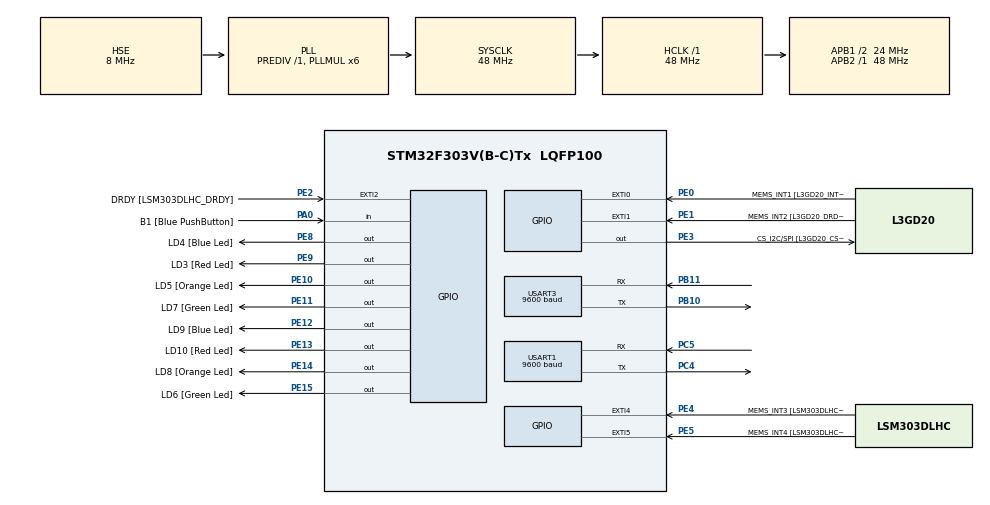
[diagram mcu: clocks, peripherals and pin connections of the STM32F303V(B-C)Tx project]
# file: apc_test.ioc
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Mcu.Family=STM32F3
Mcu.Name=STM32F303V(B-C)Tx
Mcu.Package=LQFP100
NVIC.PriorityGroup=NVIC_PRIORITYGROUP_0
NVIC.USART1_IRQn=true\:0\:0\:false\:false\:true\:true\:true\:true
NVIC.USART3_IRQn=true\:0\:0\:false\:false\:true\:true\:true\:true
PA0.GPIO_Label=B1 [Blue PushButton]
PA0.Signal=GPIO_Input
PA13.GPIO_Label=SWDIO
PA13.Mode=Serial_Wire
PA13.Signal=SYS_JTMS-SWDIO
PA14.GPIO_Label=SWCLK
PA14.Mode=Serial_Wire
PA14.Signal=SYS_JTCK-SWCLK
PA5.GPIO_Label=SPI1_SCK [L3GD20_SCL/SPC]
PA5.Signal=SPI1_SCK
PA6.GPIO_Label=SPI1_MISO [L3GD20_SA0/SDO]
PA6.Signal=SPI1_MISO
PA7.GPIO_Label=SPI1_MISO [L3GD20_SDA/SDI/SDO]
PA7.Signal=SPI1_MOSI
PB10.Mode=Asynchronous
PB10.Signal=USART3_TX
PB11.Mode=Asynchronous
PB11.Signal=USART3_RX
PB3.GPIO_Label=SWO
PB3.Signal=SYS_JTDO-TRACESWO
PB6.GPIO_Label=I2C1_SCL [LSM303DLHC_SCL]
PB6.GPIO_Pu=GPIO_PULLUP
PB6.Signal=I2C1_SCL
PB7.GPIO_Label=I2C1_SDA [LSM303DLHC_SDA]
PB7.GPIO_Pu=GPIO_PULLUP
PB7.Signal=I2C1_SDA
PC14-OSC32_IN.GPIO_Label=OSC32_IN
PC14-OSC32_IN.Signal=RCC_OSC32_IN
PC15-OSC32_OUT.GPIO_Label=OSC32_OUT
PC15-OSC32_OUT.Signal=RCC_OSC32_OUT
PC4.Mode=Asynchronous
PC4.Signal=USART1_TX
PC5.Mode=Asynchronous
PC5.Signal=USART1_RX
PE0.GPIO_Label=MEMS_INT1 [L3GD20_INT1]
PE0.GPIO_ModeDefaultEXTI=GPIO_MODE_EVT_RISING
PE0.Signal=GPXTI0
PE1.GPIO_Label=MEMS_INT2 [L3GD20_DRDY/INT2]
PE1.GPIO_ModeDefaultEXTI=GPIO_MODE_EVT_RISING
PE1.Signal=GPXTI1
PE10.GPIO_Label=LD5 [Orange Led]
PE10.Signal=GPIO_Output
PE11.GPIO_Label=LD7 [Green Led]
PE11.Signal=GPIO_Output
PE12.GPIO_Label=LD9 [Blue Led]
PE12.Signal=GPIO_Output
PE13.GPIO_Label=LD10 [Red Led]
PE13.Signal=GPIO_Output
PE14.GPIO_Label=LD8 [Orange Led]
PE14.Signal=GPIO_Output
PE15.GPIO_Label=LD6 [Green Led]
PE15.Signal=GPIO_Output
PE2.GPIO_Label=DRDY [LSM303DLHC_DRDY]
PE2.GPIO_ModeDefaultEXTI=GPIO_MODE_EVT_RISING
PE2.Signal=GPXTI2
PE3.GPIO_Label=CS_I2C/SPI [L3GD20_CS_I2C/SPI]
PE3.Signal=GPIO_Output
PE4.GPIO_Label=MEMS_INT3 [LSM303DLHC_INT1]
PE4.GPIO_ModeDefaultEXTI=GPIO_MODE_EVT_RISING
PE4.Signal=GPXTI4
PE5.GPIO_Label=MEMS_INT4 [LSM303DLHC_INT2]
PE5.GPIO_ModeDefaultEXTI=GPIO_MODE_EVT_RISING
PE5.Signal=GPXTI5
PE8.GPIO_Label=LD4 [Blue Led]
PE8.Signal=GPIO_Output
PE9.GPIO_Label=LD3 [Red Led]
PE9.Signal=GPIO_Output
PF0-OSC_IN.GPIO_Label=OSC_IN
PF0-OSC_IN.Mode=HSE-External-Clock-Source
PF0-OSC_IN.Signal=RCC_OSC_IN
PF1-OSC_OUT.GPIO_Label=OSC_OUT
PF1-OSC_OUT.Signal=RCC_OSC_OUT
ProjectManager.HeapSize=0x200
ProjectManager.StackSize=0x400
ProjectManager.TargetToolchain=STM32CubeIDE
RCC.AHBFreq_Value=48000000
RCC.APB1CLKDivider=RCC_HCLK_DIV2
RCC.APB1Freq_Value=24000000
RCC.APB1TimFreq_Value=48000000
RCC.APB2Freq_Value=48000000
RCC.APB2TimFreq_Value=48000000
RCC.CortexFreq_Value=48000000
RCC.HCLKFreq_Value=48000000
RCC.HSE_VALUE=8000000
RCC.HSI_VALUE=8000000
RCC.LSE_VALUE=32768
RCC.PLLMUL=RCC_PLL_MUL6
RCC.PLLSourceVirtual=RCC_PLLSOURCE_HSE
RCC.SYSCLKFreq_VALUE=48000000
RCC.SYSCLKSourceVirtual=RCC_SYSCLKSOURCE_PLLCLK
RCC.USBFreq_Value=48000000
USART1.BaudRate=9600
USART1.Mode=MODE_TX_RX
USART1.Parity=PARITY_NONE
USART1.VirtualMode-Asynchronous=VM_ASYNC
USART3.BaudRate=9600
USART3.VirtualMode-Asynchronous=VM_ASYNC
board=STM32F3DISCOVERY

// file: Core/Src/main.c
/* USER CODE BEGIN Header */
/**
  ******************************************************************************
  * @file           : main.c
  * @brief          : Main program body
  ******************************************************************************
  * @attention
  *
  * Copyright (c) 2025 STMicroelectronics.
  * All rights reserved.
  *
  * This software is licensed under terms that can be found in the LICENSE file
  * in the root directory of this software component.
  * If no LICENSE file comes with this software, it is provided AS-IS.
  *
  ******************************************************************************
  */
/* USER CODE END Header */
#include "main.h"

/* USER CODE BEGIN Includes */
#include <string.h>
#include <stdio.h>
/* USER CODE END Includes */

/* USER CODE BEGIN PD */
#define USART1_BUFFER_SIZE 6
#define USART3_BUFFER_SIZE 100
/* USER CODE END PD */

UART_HandleTypeDef huart1;
UART_HandleTypeDef huart3;

/* USER CODE BEGIN PV */
uint8_t USART1_RXBuffer[USART1_BUFFER_SIZE];
uint8_t USART1_TXBuffer[USART3_BUFFER_SIZE];
uint16_t USART1_TXidx = 0;

uint8_t USART3_RXBuffer[USART3_BUFFER_SIZE];
uint8_t USART3_RXByte;
uint8_t USART3_TXBuffer[USART1_BUFFER_SIZE];
uint16_t USART3_RXidx = 0;						// credentials are received 1 byte per time, so i need index
volatile uint8_t USART3_RXBufferFull = 0;

uint8_t flag_on = 0;
uint8_t flag_creds = 0;
/* USER CODE END PV */

void SystemClock_Config(void);
static void MX_GPIO_Init(void);
static void MX_USART1_UART_Init(void);
static void MX_USART3_UART_Init(void);

int main(void)
{

  /* MCU Configuration--------------------------------------------------------*/

  /* Reset of all peripherals, Initializes the Flash interface and the Systick. */
  HAL_Init();

  /* Configure the system clock */
  SystemClock_Config();

  /* Initialize all configured peripherals */
  MX_GPIO_Init();
  MX_USART1_UART_Init();
  MX_USART3_UART_Init();
  /* USER CODE BEGIN 2 */
  HAL_GPIO_WritePin(GPIOE, GPIO_PIN_12, GPIO_PIN_SET);			// turn blue led on
  HAL_GPIO_WritePin(GPIOE, GPIO_PIN_8, GPIO_PIN_SET);			// turn blue led on
  /* USER CODE END 2 */

  /* Infinite loop */
  while (1)
  {

    /* USER CODE BEGIN 3 */
	  HAL_GPIO_WritePin(GPIOE, GPIO_PIN_11, GPIO_PIN_RESET);
	  while(flag_on == 1) {
		  HAL_GPIO_WritePin(GPIOE, GPIO_PIN_11, GPIO_PIN_SET);			// turn green led on

		  if(flag_creds == 1) {
			  	flag_creds = 0;
				USART1_TXidx = strlen((char*)USART3_RXBuffer);
				memcpy(USART1_TXBuffer, USART3_RXBuffer, USART1_TXidx);				// copy received command in TX buffer
				HAL_UART_Transmit_IT(&huart1, USART1_TXBuffer, USART1_TXidx);		// start transmission on interrupt
		  }

	  }
  }
  /* USER CODE END 3 */
}

void SystemClock_Config(void)
{
  RCC_OscInitTypeDef RCC_OscInitStruct = {0};
  RCC_ClkInitTypeDef RCC_ClkInitStruct = {0};
  RCC_PeriphCLKInitTypeDef PeriphClkInit = {0};

  /** Initializes the RCC Oscillators according to the specified parameters
  * in the RCC_OscInitTypeDef structure.
  */
  RCC_OscInitStruct.OscillatorType = RCC_OSCILLATORTYPE_HSE;
  RCC_OscInitStruct.HSEState = RCC_HSE_BYPASS;
  RCC_OscInitStruct.HSEPredivValue = RCC_HSE_PREDIV_DIV1;
  RCC_OscInitStruct.HSIState = RCC_HSI_ON;
  RCC_OscInitStruct.PLL.PLLState = RCC_PLL_ON;
  RCC_OscInitStruct.PLL.PLLSource = RCC_PLLSOURCE_HSE;
  RCC_OscInitStruct.PLL.PLLMUL = RCC_PLL_MUL6;
  if (HAL_RCC_OscConfig(&RCC_OscInitStruct) != HAL_OK)
  {
    Error_Handler();
  }

  /** Initializes the CPU, AHB and APB buses clocks
  */
  RCC_ClkInitStruct.ClockType = RCC_CLOCKTYPE_HCLK|RCC_CLOCKTYPE_SYSCLK
                              |RCC_CLOCKTYPE_PCLK1|RCC_CLOCKTYPE_PCLK2;
  RCC_ClkInitStruct.SYSCLKSource = RCC_SYSCLKSOURCE_PLLCLK;
  RCC_ClkInitStruct.AHBCLKDivider = RCC_SYSCLK_DIV1;
  RCC_ClkInitStruct.APB1CLKDivider = RCC_HCLK_DIV2;
  RCC_ClkInitStruct.APB2CLKDivider = RCC_HCLK_DIV1;

  if (HAL_RCC_ClockConfig(&RCC_ClkInitStruct, FLASH_LATENCY_1) != HAL_OK)
  {
    Error_Handler();
  }
  PeriphClkInit.PeriphClockSelection = RCC_PERIPHCLK_USART1|RCC_PERIPHCLK_USART3;
  PeriphClkInit.Usart1ClockSelection = RCC_USART1CLKSOURCE_PCLK2;
  PeriphClkInit.Usart3ClockSelection = RCC_USART3CLKSOURCE_PCLK1;
  if (HAL_RCCEx_PeriphCLKConfig(&PeriphClkInit) != HAL_OK)
  {
    Error_Handler();
  }
}

static void MX_USART1_UART_Init(void)
{

  huart1.Instance = USART1;
  huart1.Init.BaudRate = 9600;
  huart1.Init.WordLength = UART_WORDLENGTH_8B;
  huart1.Init.StopBits = UART_STOPBITS_1;
  huart1.Init.Parity = UART_PARITY_NONE;
  huart1.Init.Mode = UART_MODE_TX_RX;
  huart1.Init.HwFlowCtl = UART_HWCONTROL_NONE;
  huart1.Init.OverSampling = UART_OVERSAMPLING_16;
  huart1.Init.OneBitSampling = UART_ONE_BIT_SAMPLE_DISABLE;
  huart1.AdvancedInit.AdvFeatureInit = UART_ADVFEATURE_NO_INIT;
  if (HAL_UART_Init(&huart1) != HAL_OK)
  {
    Error_Handler();
  }
  /* USER CODE BEGIN USART1_Init 2 */
  HAL_UART_Receive_IT(&huart1, USART1_RXBuffer, USART1_BUFFER_SIZE);		// enable reception on USART1 (full command)
  /* USER CODE END USART1_Init 2 */

}

static void MX_USART3_UART_Init(void)
{

  huart3.Instance = USART3;
  huart3.Init.BaudRate = 9600;
  huart3.Init.WordLength = UART_WORDLENGTH_8B;
  huart3.Init.StopBits = UART_STOPBITS_1;
  huart3.Init.Parity = UART_PARITY_NONE;
  huart3.Init.Mode = UART_MODE_TX_RX;
  huart3.Init.HwFlowCtl = UART_HWCONTROL_NONE;
  huart3.Init.OverSampling = UART_OVERSAMPLING_16;
  huart3.Init.OneBitSampling = UART_ONE_BIT_SAMPLE_DISABLE;
  huart3.AdvancedInit.AdvFeatureInit = UART_ADVFEATURE_NO_INIT;
  if (HAL_UART_Init(&huart3) != HAL_OK)
  {
    Error_Handler();
  }
  /* USER CODE BEGIN USART3_Init 2 */
  HAL_UART_Receive_IT(&huart3, &USART3_RXByte, 1);							// enable reception on USART3 (1 byte)
  /* USER CODE END USART3_Init 2 */

}

static void MX_GPIO_Init(void)
{
  GPIO_InitTypeDef GPIO_InitStruct = {0};

  /* GPIO Ports Clock Enable */
  __HAL_RCC_GPIOE_CLK_ENABLE();
  __HAL_RCC_GPIOC_CLK_ENABLE();
  __HAL_RCC_GPIOF_CLK_ENABLE();
  __HAL_RCC_GPIOA_CLK_ENABLE();
  __HAL_RCC_GPIOB_CLK_ENABLE();

  /*Configure GPIO pin Output Level */
  HAL_GPIO_WritePin(GPIOE, CS_I2C_SPI_Pin|LD4_Pin|LD3_Pin|LD5_Pin
                          |LD7_Pin|LD9_Pin|LD10_Pin|LD8_Pin
                          |LD6_Pin, GPIO_PIN_RESET);

  /*Configure GPIO pins : DRDY_Pin MEMS_INT3_Pin MEMS_INT4_Pin MEMS_INT1_Pin
                           MEMS_INT2_Pin */
  GPIO_InitStruct.Pin = DRDY_Pin|MEMS_INT3_Pin|MEMS_INT4_Pin|MEMS_INT1_Pin
                          |MEMS_INT2_Pin;
  GPIO_InitStruct.Mode = GPIO_MODE_EVT_RISING;
  GPIO_InitStruct.Pull = GPIO_NOPULL;
  HAL_GPIO_Init(GPIOE, &GPIO_InitStruct);

  /*Configure GPIO pins : CS_I2C_SPI_Pin LD4_Pin LD3_Pin LD5_Pin
                           LD7_Pin LD9_Pin LD10_Pin LD8_Pin
                           LD6_Pin */
  GPIO_InitStruct.Pin = CS_I2C_SPI_Pin|LD4_Pin|LD3_Pin|LD5_Pin
                          |LD7_Pin|LD9_Pin|LD10_Pin|LD8_Pin
                          |LD6_Pin;
  GPIO_InitStruct.Mode = GPIO_MODE_OUTPUT_PP;
  GPIO_InitStruct.Pull = GPIO_NOPULL;
  GPIO_InitStruct.Speed = GPIO_SPEED_FREQ_LOW;
  HAL_GPIO_Init(GPIOE, &GPIO_InitStruct);

  /*Configure GPIO pin : B1_Pin */
  GPIO_InitStruct.Pin = B1_Pin;
  GPIO_InitStruct.Mode = GPIO_MODE_INPUT;
  GPIO_InitStruct.Pull = GPIO_NOPULL;
  HAL_GPIO_Init(B1_GPIO_Port, &GPIO_InitStruct);

  /*Configure GPIO pins : SPI1_SCK_Pin SPI1_MISO_Pin SPI1_MISOA7_Pin */
  GPIO_InitStruct.Pin = SPI1_SCK_Pin|SPI1_MISO_Pin|SPI1_MISOA7_Pin;
  GPIO_InitStruct.Mode = GPIO_MODE_AF_PP;
  GPIO_InitStruct.Pull = GPIO_NOPULL;
  GPIO_InitStruct.Speed = GPIO_SPEED_FREQ_HIGH;
  GPIO_InitStruct.Alternate = GPIO_AF5_SPI1;
  HAL_GPIO_Init(GPIOA, &GPIO_InitStruct);

  /*Configure GPIO pins : I2C1_SCL_Pin I2C1_SDA_Pin */
  GPIO_InitStruct.Pin = I2C1_SCL_Pin|I2C1_SDA_Pin;
  GPIO_InitStruct.Mode = GPIO_MODE_AF_OD;
  GPIO_InitStruct.Pull = GPIO_PULLUP;
  GPIO_InitStruct.Speed = GPIO_SPEED_FREQ_HIGH;
  GPIO_InitStruct.Alternate = GPIO_AF4_I2C1;
  HAL_GPIO_Init(GPIOB, &GPIO_InitStruct);

}

/* USER CODE BEGIN 4 */
void HAL_UART_RxCpltCallback(UART_HandleTypeDef *huart)
{
    if (huart->Instance == USART1)		// received command
    {
        if (strncmp((char*)USART1_RXBuffer, "start\n", USART1_BUFFER_SIZE) == 0)
        {
        	flag_on = 1;
        }
        else if (strncmp((char*)USART1_RXBuffer, "stop_\n", USART1_BUFFER_SIZE) == 0)
        {
        	flag_on = 0;
        	flag_creds = 0;
        }

    	memcpy(USART3_TXBuffer, USART1_RXBuffer, USART1_BUFFER_SIZE);						// copy received command in TX buffer
    	HAL_UART_Transmit_IT(&huart3, USART3_TXBuffer, USART1_BUFFER_SIZE);					// start transmission on interrupt
        HAL_UART_Receive_IT(&huart1, USART1_RXBuffer, USART1_BUFFER_SIZE);					// reset reception
    }
    else if (huart->Instance == USART3)		// received a credentials char
    {
        if (USART3_RXByte == '\n' || USART3_RXBufferFull == 1)
        {
            // all credentials char received or buffer full
        	USART3_RXBuffer[USART3_RXidx] = '\0';
        	flag_creds = 1;
        	USART3_RXidx = 0;
        	USART3_RXBufferFull = 0;
        }
        else
        {
        	USART3_RXBuffer[USART3_RXidx++] = USART3_RXByte;
            if (USART3_RXidx >= USART3_BUFFER_SIZE)
            {
            	USART3_RXBufferFull = 1;
            }
        }

        HAL_UART_Receive_IT(&huart3, &USART3_RXByte, 1);						// reset reception
    }
}

void HAL_UART_TxCpltCallback(UART_HandleTypeDef *huart)
{
	if (huart->Instance == USART1)
	{
		//HAL_GPIO_WritePin(GPIOE, GPIO_PIN_14, GPIO_PIN_SET);			// orange led when transmission is finished (for debug)
		USART1_TXidx = 0;
	}
}
/* USER CODE END 4 */

void Error_Handler(void)
{
  __disable_irq();
  while (1)
  {
  }
}
